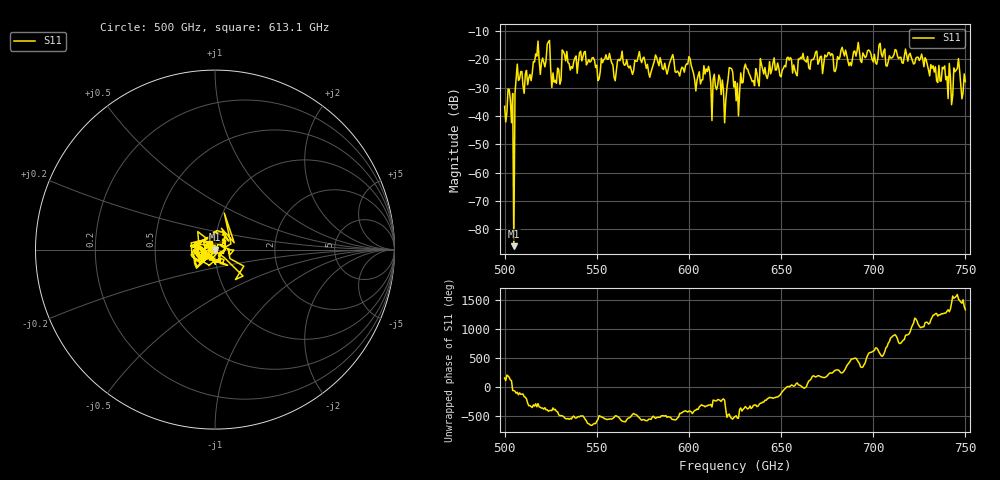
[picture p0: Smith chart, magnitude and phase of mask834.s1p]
!Created with skrf (http://scikit-rf.org).
# GHz S MA R 50.0
!freq magS11 angS11
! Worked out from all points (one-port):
!   401 points, 500 GHz to 750 GHz, reference 50 ohm
!   lowest |S11| = -86.0 dB at 505 GHz (marker M1), VSWR 1.00, Z = 50 - j0.0044 ohm
!   |S11| at or under -10 dB: start of sweep to end of sweep
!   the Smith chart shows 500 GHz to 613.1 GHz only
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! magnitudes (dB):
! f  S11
! 500 GHz  -36.6
! 503.1 GHz  -34.4
! 503.8 GHz  -42.4
! 505 GHz  -86.0
! 507.5 GHz  -27.5
! 513.8 GHz  -25.4
! 516.9 GHz  -18.1
! 520.6 GHz  -19.6
! 523.1 GHz  -14.7
! 526.9 GHz  -28.1
! 531.2 GHz  -16.7
! 542.5 GHz  -19.2
! 550.6 GHz  -27.5
! 556.2 GHz  -20.0
! 559.4 GHz  -26.3
! 562.5 GHz  -20.5
! 593.8 GHz  -24.1
! 609.4 GHz  -23.4
! 618.8 GHz  -31.0
! 622.5 GHz  -23.1
! 625 GHz  -27.9
! 631.2 GHz  -23.3
! 656.2 GHz  -24.9
! 687.5 GHz  -21.1
! 718.8 GHz  -20.7
! 741.9 GHz  -26.3
! 745 GHz  -23.8
! 750 GHz  -27.9
